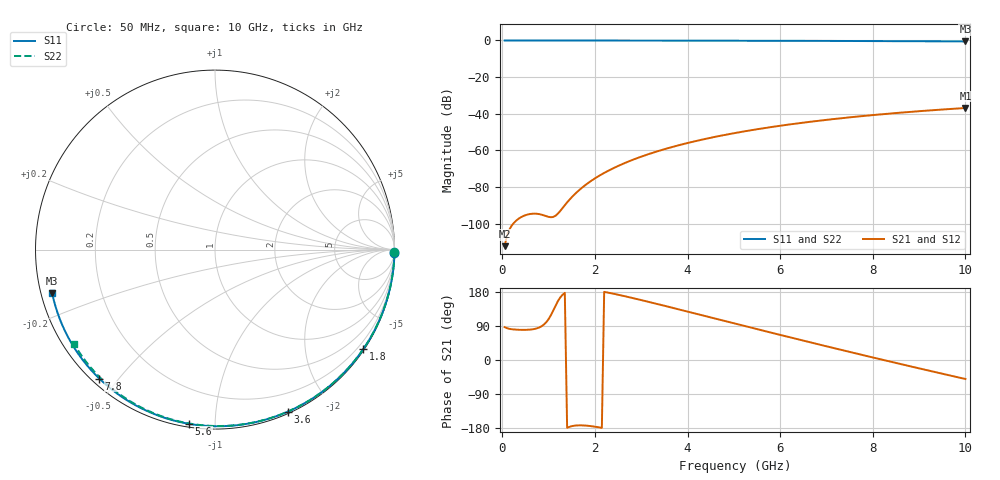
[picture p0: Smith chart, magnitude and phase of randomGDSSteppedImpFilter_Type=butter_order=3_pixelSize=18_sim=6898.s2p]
! freq	dB(S11)	phase(S11)	dB(S12)	phase(S12)
!  dB(S21)	phase(S21)	dB(S22)	phase(S22)
!S-par simulation data
#  GHz  S  DB  R 50
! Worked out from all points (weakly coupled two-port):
!   200 points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, 50 MHz to 10 GHz, reference 50 ohm
!   highest |S21| = -36.87 dB at 10 GHz (marker M1); lowest = -112.2 dB at 50 MHz (marker M2)
!   lowest |S11| = -0.5 dB at 10 GHz (marker M3), VSWR 31.88, Z = 1.6 - j6.54 ohm
!   |S11| at or under -10 dB: nowhere
!   |S22| runs from -0.5 to 0.0 dB; largest |S21 - S12| = 0
!   S11 on the Smith chart (normalised r, x): 50 MHz: open; 1.8 GHz: 0.03, -3.28; 3.6 GHz: 0.02, -1.54; 5.6 GHz: 0.02, -0.86; 7.8 GHz: 0.02, -0.45; 10 GHz: 0.03, -0.13
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0.05  -0.00 -1.0  -112.25 86.7  -112.25 86.7  -0.00 -0.9
0.45  -0.01 -8.6  -95.84 79.5  -95.84 79.5  -0.01 -7.7
0.85  -0.02 -16.2  -95.07 89.2  -95.07 89.2  -0.02 -14.4
1.25  -0.03 -23.7  -93.06 164.8  -93.06 164.8  -0.03 -21.1
1.7  -0.04 -32.0  -80.78 -172.4  -80.78 -172.4  -0.04 -28.5
1.75  -0.04 -32.9  -79.75 -172.6  -79.75 -172.6  -0.04 -29.3
1.8  -0.04 -33.9  -78.77 -173.0  -78.77 -173.0  -0.04 -30.1
2.1  -0.05 -39.3  -73.72 -177.9  -73.72 -177.9  -0.04 -35.0
2.3  -0.05 -43.0  -70.94 177.4  -70.94 177.4  -0.05 -38.3
2.5  -0.06 -46.6  -68.50 172.3  -68.50 172.3  -0.05 -41.5
2.9  -0.07 -53.7  -64.33 161.1  -64.33 161.1  -0.06 -47.8
3.4  -0.08 -62.4  -60.08 146.2  -60.08 146.2  -0.07 -55.7
3.6  -0.09 -65.8  -58.61 140.1  -58.61 140.1  -0.08 -58.7
4.3  -0.11 -77.6  -54.19 118.5  -54.19 118.5  -0.10 -69.3
5.05  -0.14 -89.8  -50.39 95.4  -50.39 95.4  -0.12 -80.3
5.6  -0.16 -98.5  -48.05 78.5  -48.05 78.5  -0.15 -88.2
6.15  -0.19 -107.1  -46.01 61.7  -46.01 61.7  -0.17 -95.8
6.7  -0.22 -115.4  -44.22 45.1  -44.22 45.1  -0.20 -103.3
7.8  -0.31 -131.9  -41.20 12.5  -41.20 12.5  -0.28 -117.9
8.35  -0.36 -140.1  -39.93 -3.4  -39.93 -3.4  -0.32 -125.1
9.2  -0.45 -152.8  -38.22 -27.7  -38.22 -27.7  -0.40 -136.0
10  -0.55 -165.1  -36.87 -50.1  -36.87 -50.1  -0.49 -146.3
